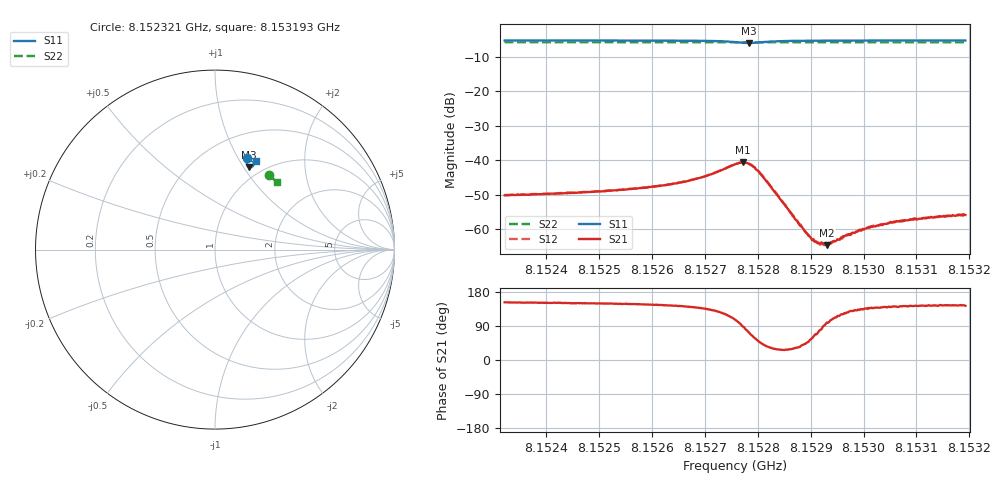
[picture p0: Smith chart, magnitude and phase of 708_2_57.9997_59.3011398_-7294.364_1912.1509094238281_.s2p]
#  HZ  S  RI  R  50.00
! Rohde & Schwarz Vector Network Analyzer
! Rohde-Schwarz,ZNB20-2Port,1311601062101988,3.16
! Created: UTC 3/21/2024, 1:22:03 AM
! freq[Hz]  re:S11  im:S11  re:S21  im:S21  re:S12  im:S12  re:S22  im:S22
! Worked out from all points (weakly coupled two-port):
!   401 points, 8.152321 GHz to 8.153193 GHz, reference 50 ohm
!   highest |S21| = -40.59 dB at 8.152772 GHz (marker M1); lowest = -64.6 dB at 8.152931 GHz (marker M2)
!   lowest |S11| = -6.1 dB at 8.152783 GHz (marker M3), VSWR 2.98, Z = 43.2 + j52.9 ohm
!   |S11| at or under -10 dB: nowhere
!   |S22| runs from -5.9 to -5.8 dB; largest |S21 - S12| = 0.0002
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8.1523208e9  0.1775 0.5104  -0.00275 0.00145  -0.00277 0.00153  0.3017 0.413
8.1524668e9  0.1886 0.5065  -0.00297 0.00172  -0.00298 0.00178  0.309 0.4072
8.1525366e9  0.1943 0.5042  -0.00315 0.00197  -0.00316 0.00199  0.3126 0.4044
8.1526129e9  0.2015 0.5005  -0.0035 0.00243  -0.00351 0.00247  0.3164 0.4012
8.1526608e9  0.2069 0.4966  -0.00383 0.00305  -0.00382 0.00313  0.3188 0.3991
8.1526935e9  0.2112 0.492  -0.0041 0.00388  -0.00409 0.00394  0.3203 0.3977
8.1527567e9  0.212 0.4667  -0.00248 0.00837  -0.00242 0.00844  0.323 0.3942
8.1527719e9  0.2002 0.4594  0.000302 0.00934  0.000315 0.00935  0.3232 0.3937
8.1527828e9  0.1887 0.4605  0.00264 0.00847  0.00267 0.00859  0.3233 0.3934
8.1527959e9  0.1789 0.4699  0.00424 0.00616  0.00442 0.00626  0.3237 0.3933
8.1528068e9  0.177 0.4791  0.00442 0.00421  0.00456 0.00425  0.3243 0.3933
8.1528874e9  0.1967 0.4987  0.000732 0.000652  0.00073 0.000637  0.3291 0.3905
8.1529027e9  0.1994 0.4988  0.000373 0.000589  0.000398 0.000593  0.3298 0.3898
8.1529114e9  0.2007 0.4988  0.000239 0.000598  0.000264 0.000611  0.3303 0.3893
8.1529201e9  0.2019 0.4987  0.000101 0.00064  0.000123 0.000602  0.3306 0.389
8.152931e9  0.2035 0.4985  -9.11e-05 0.000583  -6.04e-05 0.000617  0.3313 0.3885
8.1529506e9  0.2059 0.4982  -0.000319 0.000647  -0.000288 0.000653  0.3321 0.3877
8.1529659e9  0.2076 0.4978  -0.000449 0.000681  -0.000446 0.000658  0.3329 0.3871
8.1530051e9  0.2115 0.4969  -0.000747 0.000711  -0.000732 0.00075  0.3349 0.3853
8.1530487e9  0.2156 0.4956  -0.000961 0.000787  -0.000954 0.000811  0.3369 0.3836
8.1530988e9  0.2197 0.4941  -0.00112 0.000835  -0.00114 0.000891  0.3394 0.3814
8.1531925e9  0.2268 0.4916  -0.00129 0.000974  -0.00134 0.000981  0.3436 0.3771
